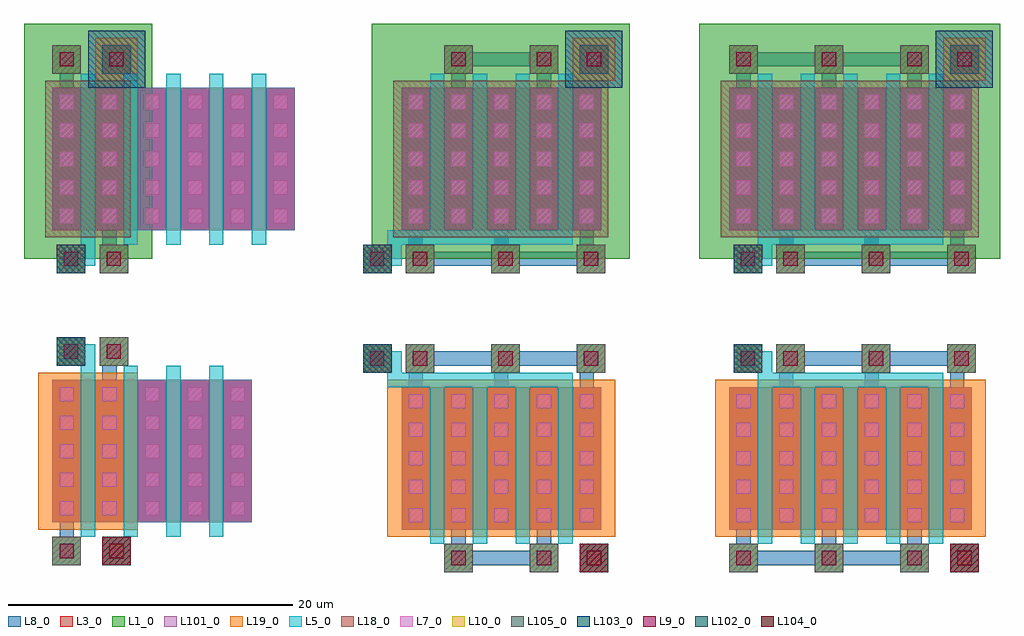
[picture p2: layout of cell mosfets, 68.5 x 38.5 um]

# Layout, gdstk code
import gdstk
lib = gdstk.Library(unit=1e-6, precision=1e-09)
def R(c, l, rs):  # rectangles x0, y0, x1, y1
    for r in rs: c.add(gdstk.rectangle(r[:2], r[2:], *l))
L1_0 = (1, 0)
L3_0 = (3, 0)
L5_0 = (5, 0)
L7_0 = (7, 0)
L8_0 = (8, 0)
L9_0 = (9, 0)
L10_0 = (10, 0)
L18_0 = (18, 0)
L19_0 = (19, 0)
L101_0 = (101, 0)
L102_0 = (102, 0)
L103_0 = (103, 0)
L104_0 = (104, 0)
L105_0 = (105, 0)

dcont = lib.new_cell('dcont')
R(dcont, L3_0, [(-0.5,-0.5,0.5,0.5)])
R(dcont, L7_0, [(-0.5,-0.5,0.5,0.5)])
R(dcont, L8_0, [(-1,-1,1,1)])
R(dcont, L101_0, [(-1,-1,1,1)])
dcont.add(gdstk.Label('dcont', (0,0), layer=13, texttype=0))

via = lib.new_cell('Via')
R(via, L8_0, [(-1,-1,1,1)])
R(via, L9_0, [(-0.5,-0.5,0.5,0.5)])
R(via, L10_0, [(-1,-1,1,1)])
R(via, L105_0, [(-1,-1,1,1)])
via.add(gdstk.Label('via', (0,0), layer=13, texttype=0))

dcont_2 = lib.new_cell('dcont$2')
R(dcont_2, L3_0, [(-0.5,-0.5,0.5,0.5)])
R(dcont_2, L7_0, [(-0.5,-0.5,0.5,0.5)])
R(dcont_2, L8_0, [(-1,-1,1,1)])
R(dcont_2, L101_0, [(-1,-1,1,1)])
dcont_2.add(gdstk.Label('dcont', (0,0), layer=13, texttype=0))

nsubcont = lib.new_cell('nsubcont')
R(nsubcont, L1_0, [(-2,-2,2,2)])
R(nsubcont, L19_0, [(-1.5,-1.5,1.5,1.5)])
R(nsubcont, L103_0, [(-2,-2,2,2)])
nsubcont.add(gdstk.Reference(dcont_2, (0,0)))
nsubcont.add(gdstk.Label('NScont', (0,0), layer=13, texttype=0))

pcont = lib.new_cell('pcont')
R(pcont, L5_0, [(-1,-1,1,1)])
R(pcont, L7_0, [(-0.5,-0.5,0.5,0.5)])
R(pcont, L8_0, [(-1,-1,1,1)])
R(pcont, L102_0, [(-1,-1,1,1)])
pcont.add(gdstk.Label('pcont', (0,0), layer=13, texttype=0))

dcont_3 = lib.new_cell('dcont$3')
R(dcont_3, L3_0, [(-0.5,-0.5,0.5,0.5)])
R(dcont_3, L7_0, [(-0.5,-0.5,0.5,0.5)])
R(dcont_3, L8_0, [(-1,-1,1,1)])
R(dcont_3, L101_0, [(-1,-1,1,1)])
dcont_3.add(gdstk.Label('dcont', (0,0), layer=13, texttype=0))

pcont_3 = lib.new_cell('pcont$3')
R(pcont_3, L5_0, [(-1,-1,1,1)])
R(pcont_3, L7_0, [(-0.5,-0.5,0.5,0.5)])
R(pcont_3, L8_0, [(-1,-1,1,1)])
R(pcont_3, L102_0, [(-1,-1,1,1)])
pcont_3.add(gdstk.Label('pcont', (0,0), layer=13, texttype=0))

via_3 = lib.new_cell('Via$3')
R(via_3, L8_0, [(-1,-1,1,1)])
R(via_3, L9_0, [(-0.5,-0.5,0.5,0.5)])
R(via_3, L10_0, [(-1,-1,1,1)])
R(via_3, L105_0, [(-1,-1,1,1)])
via_3.add(gdstk.Label('via', (0,0), layer=13, texttype=0))

nsubcont_1 = lib.new_cell('nsubcont$1')
R(nsubcont_1, L1_0, [(-2,-2,2,2)])
R(nsubcont_1, L19_0, [(-1.5,-1.5,1.5,1.5)])
R(nsubcont_1, L103_0, [(-2,-2,2,2)])
nsubcont_1.add(gdstk.Reference(dcont_3, (0,0)))
nsubcont_1.add(gdstk.Label('NScont', (0,0), layer=13, texttype=0))

pch = lib.new_cell('Pch')
R(pch, L1_0, [(-2,1,7,17.5)])
R(pch, L3_0, [(0,3,17,13)])
R(pch, L18_0, [(-0.5,2.5,5.5,13.5)])
pch.add(gdstk.FlexPath([(1,3),(1,13)], 2, ends="flush", simple_path=True, layer=8, datatype=0))  # L8_0
pch.add(gdstk.FlexPath([(4,3),(4,13)], 2, ends="flush", simple_path=True, layer=8, datatype=0))  # L8_0
pch.add(gdstk.FlexPath([(7,3),(7,13)], 2, ends="flush", simple_path=True, layer=8, datatype=0))  # L8_0
pch.add(gdstk.FlexPath([(10,3),(10,13)], 2, ends="flush", simple_path=True, layer=8, datatype=0))  # L8_0
pch.add(gdstk.FlexPath([(13,3),(13,13)], 2, ends="flush", simple_path=True, layer=8, datatype=0))  # L8_0
pch.add(gdstk.FlexPath([(16,3),(16,13)], 2, ends="flush", simple_path=True, layer=8, datatype=0))  # L8_0
pch.add(gdstk.FlexPath([(4,1),(4,3)], 1, ends="flush", simple_path=True, layer=8, datatype=0))  # L8_0
pch.add(gdstk.FlexPath([(1,13),(1,15)], 1, ends="flush", simple_path=True, layer=8, datatype=0))  # L8_0
pch.add(gdstk.FlexPath([(2.5,3),(2.5,13)], 1, ends=(1, 1), simple_path=True, layer=5, datatype=0))  # L5_0
pch.add(gdstk.FlexPath([(5.5,3),(5.5,13)], 1, ends=(1, 1), simple_path=True, layer=5, datatype=0))  # L5_0
pch.add(gdstk.FlexPath([(8.5,3),(8.5,13)], 1, ends=(1, 1), simple_path=True, layer=5, datatype=0))  # L5_0
pch.add(gdstk.FlexPath([(11.5,3),(11.5,13)], 1, ends=(1, 1), simple_path=True, layer=5, datatype=0))  # L5_0
pch.add(gdstk.FlexPath([(14.5,3),(14.5,13)], 1, ends=(1, 1), simple_path=True, layer=5, datatype=0))  # L5_0
pch.add(gdstk.FlexPath([(1,1),(2.5,1),(2.5,2)], 1, ends="flush", simple_path=True, layer=5, datatype=0))  # L5_0
pch.add(gdstk.Reference(dcont_3, (1,4)))
pch.add(gdstk.Reference(dcont_3, (1,6)))
pch.add(gdstk.Reference(dcont_3, (1,8)))
pch.add(gdstk.Reference(dcont_3, (1,10)))
pch.add(gdstk.Reference(dcont_3, (1,12)))
pch.add(gdstk.Reference(dcont_3, (4,4)))
pch.add(gdstk.Reference(dcont_3, (4,6)))
pch.add(gdstk.Reference(dcont_3, (4,8)))
pch.add(gdstk.Reference(dcont_3, (4,10)))
pch.add(gdstk.Reference(dcont_3, (4,12)))
pch.add(gdstk.Reference(dcont_3, (7,4)))
pch.add(gdstk.Reference(dcont_3, (7,6)))
pch.add(gdstk.Reference(dcont_3, (7,8)))
pch.add(gdstk.Reference(dcont_3, (7,10)))
pch.add(gdstk.Reference(dcont_3, (7,12)))
pch.add(gdstk.Reference(dcont_3, (10,4)))
pch.add(gdstk.Reference(dcont_3, (10,6)))
pch.add(gdstk.Reference(dcont_3, (10,8)))
pch.add(gdstk.Reference(dcont_3, (10,10)))
pch.add(gdstk.Reference(dcont_3, (10,12)))
pch.add(gdstk.Reference(dcont_3, (13,4)))
pch.add(gdstk.Reference(dcont_3, (13,6)))
pch.add(gdstk.Reference(dcont_3, (13,8)))
pch.add(gdstk.Reference(dcont_3, (13,10)))
pch.add(gdstk.Reference(dcont_3, (13,12)))
pch.add(gdstk.Reference(dcont_3, (16,4)))
pch.add(gdstk.Reference(dcont_3, (16,6)))
pch.add(gdstk.Reference(dcont_3, (16,8)))
pch.add(gdstk.Reference(dcont_3, (16,10)))
pch.add(gdstk.Reference(dcont_3, (16,12)))
pch.add(gdstk.Reference(pcont_3, (1.3,1)))
pch.add(gdstk.Reference(via_3, (1.3,1)))
pch.add(gdstk.Reference(via_3, (4.3,1)))
pch.add(gdstk.Reference(via_3, (1,15)))
pch.add(gdstk.Reference(nsubcont_1, (4.5,15)))
pch.add(gdstk.Reference(via_3, (4.5,15)))

psubcont_2 = lib.new_cell('psubcont$2')
R(psubcont_2, L104_0, [(-1,-1,1,1)])
psubcont_2.add(gdstk.Reference(dcont_3, (0,0)))
psubcont_2.add(gdstk.Label('PScon', (0,0), layer=13, texttype=0))

nch_2 = lib.new_cell('Nch$2')
R(nch_2, L3_0, [(0,3,14,13)])
R(nch_2, L19_0, [(-1,2.5,6,13.5)])
nch_2.add(gdstk.FlexPath([(1,3),(1,13)], 2, ends="flush", simple_path=True, layer=8, datatype=0))  # L8_0
nch_2.add(gdstk.FlexPath([(4,3),(4,13)], 2, ends="flush", simple_path=True, layer=8, datatype=0))  # L8_0
nch_2.add(gdstk.FlexPath([(7,3),(7,13)], 2, ends="flush", simple_path=True, layer=8, datatype=0))  # L8_0
nch_2.add(gdstk.FlexPath([(10,3),(10,13)], 2, ends="flush", simple_path=True, layer=8, datatype=0))  # L8_0
nch_2.add(gdstk.FlexPath([(13,3),(13,13)], 2, ends="flush", simple_path=True, layer=8, datatype=0))  # L8_0
nch_2.add(gdstk.FlexPath([(1,1),(1,3)], 1, ends="flush", simple_path=True, layer=8, datatype=0))  # L8_0
nch_2.add(gdstk.FlexPath([(4,13),(4,15)], 1, ends="flush", simple_path=True, layer=8, datatype=0))  # L8_0
nch_2.add(gdstk.FlexPath([(2.5,3),(2.5,13)], 1, ends=(1, 1), simple_path=True, layer=5, datatype=0))  # L5_0
nch_2.add(gdstk.FlexPath([(5.5,3),(5.5,13)], 1, ends=(1, 1), simple_path=True, layer=5, datatype=0))  # L5_0
nch_2.add(gdstk.FlexPath([(8.5,3),(8.5,13)], 1, ends=(1, 1), simple_path=True, layer=5, datatype=0))  # L5_0
nch_2.add(gdstk.FlexPath([(11.5,3),(11.5,13)], 1, ends=(1, 1), simple_path=True, layer=5, datatype=0))  # L5_0
nch_2.add(gdstk.FlexPath([(1,15),(2.5,15),(2.5,14)], 1, ends="flush", simple_path=True, layer=5, datatype=0))  # L5_0
nch_2.add(gdstk.Reference(dcont_3, (1,4)))
nch_2.add(gdstk.Reference(dcont_3, (1,6)))
nch_2.add(gdstk.Reference(dcont_3, (1,8)))
nch_2.add(gdstk.Reference(dcont_3, (1,10)))
nch_2.add(gdstk.Reference(dcont_3, (1,12)))
nch_2.add(gdstk.Reference(dcont_3, (4,4)))
nch_2.add(gdstk.Reference(dcont_3, (4,6)))
nch_2.add(gdstk.Reference(dcont_3, (4,8)))
nch_2.add(gdstk.Reference(dcont_3, (4,10)))
nch_2.add(gdstk.Reference(dcont_3, (4,12)))
nch_2.add(gdstk.Reference(dcont_3, (7,4)))
nch_2.add(gdstk.Reference(dcont_3, (7,6)))
nch_2.add(gdstk.Reference(dcont_3, (7,8)))
nch_2.add(gdstk.Reference(dcont_3, (7,10)))
nch_2.add(gdstk.Reference(dcont_3, (7,12)))
nch_2.add(gdstk.Reference(dcont_3, (10,4)))
nch_2.add(gdstk.Reference(dcont_3, (10,6)))
nch_2.add(gdstk.Reference(dcont_3, (10,8)))
nch_2.add(gdstk.Reference(dcont_3, (10,10)))
nch_2.add(gdstk.Reference(dcont_3, (10,12)))
nch_2.add(gdstk.Reference(dcont_3, (13,4)))
nch_2.add(gdstk.Reference(dcont_3, (13,6)))
nch_2.add(gdstk.Reference(dcont_3, (13,8)))
nch_2.add(gdstk.Reference(dcont_3, (13,10)))
nch_2.add(gdstk.Reference(dcont_3, (13,12)))
nch_2.add(gdstk.Reference(via_3, (1,1)))
nch_2.add(gdstk.Reference(psubcont_2, (4.5,1)))
nch_2.add(gdstk.Reference(via_3, (4.5,1)))
nch_2.add(gdstk.Reference(pcont_3, (1.3,15)))
nch_2.add(gdstk.Reference(via_3, (1.3,15)))
nch_2.add(gdstk.Reference(via_3, (4.3,15)))

psubcont = lib.new_cell('psubcont')
R(psubcont, L104_0, [(-1,-1,1,1)])
psubcont.add(gdstk.Reference(dcont_2, (0,0)))
psubcont.add(gdstk.Label('PScon', (0,0), layer=13, texttype=0))

mosfets = lib.new_cell('mosfets')
R(mosfets, L1_0, [(-11.1,-1.5,7,15), (11.9,-1.5,33,15)])
R(mosfets, L3_0, [(-9,-20.5,5,-10.5), (14,-20.5,31,-10.5), (-9,0.5,5,10.5), (14,0.5,31,10.5)])
R(mosfets, L5_0, [(-11.7,-2.5,-9.7,-0.5), (14.3,-2.5,16.3,-0.5)])
R(mosfets, L18_0, [(-9.6,0,5.5,11), (13.4,0,31.5,11)])
R(mosfets, L19_0, [(-10,-21,6,-10), (13,-21,32,-10)])
mosfets.add(gdstk.FlexPath([(1,0.5),(1,10.5)], 2, ends="flush", simple_path=True, layer=8, datatype=0))  # L8_0
mosfets.add(gdstk.FlexPath([(4,0.5),(4,10.5)], 2, ends="flush", simple_path=True, layer=8, datatype=0))  # L8_0
mosfets.add(gdstk.FlexPath([(4,-2.5),(4,0.5)], 1, ends="flush", simple_path=True, layer=8, datatype=0))  # L8_0
mosfets.add(gdstk.FlexPath([(1,10.5),(1,12.5)], 1, ends="flush", simple_path=True, layer=8, datatype=0))  # L8_0
mosfets.add(gdstk.FlexPath([(-2,0.5),(-2,10.5)], 2, ends="flush", simple_path=True, layer=8, datatype=0))  # L8_0
mosfets.add(gdstk.FlexPath([(-2,-2),(-2,0.5)], 1, ends="flush", simple_path=True, layer=8, datatype=0))  # L8_0
mosfets.add(gdstk.FlexPath([(5,-1.5),(-8,-1.5)], 1, ends="flush", simple_path=True, layer=8, datatype=0))  # L8_0
mosfets.add(gdstk.FlexPath([(-5,10.5),(-5,12.5)], 1, ends="flush", simple_path=True, layer=8, datatype=0))  # L8_0
mosfets.add(gdstk.FlexPath([(-5,0.5),(-5,10.5)], 2, ends="flush", simple_path=True, layer=8, datatype=0))  # L8_0
mosfets.add(gdstk.FlexPath([(1,12.5),(-5,12.5)], 1, ends="flush", simple_path=True, layer=8, datatype=0))  # L8_0
mosfets.add(gdstk.FlexPath([(-8,0.5),(-8,10.5)], 2, ends="flush", simple_path=True, layer=8, datatype=0))  # L8_0
mosfets.add(gdstk.FlexPath([(-8,-2),(-8,0.5)], 1, ends="flush", simple_path=True, layer=8, datatype=0))  # L8_0
mosfets.add(gdstk.FlexPath([(27,0.5),(27,10.5)], 2, ends="flush", simple_path=True, layer=8, datatype=0))  # L8_0
mosfets.add(gdstk.FlexPath([(30,0.5),(30,10.5)], 2, ends="flush", simple_path=True, layer=8, datatype=0))  # L8_0
mosfets.add(gdstk.FlexPath([(30,-2.5),(30,0.5)], 1, ends="flush", simple_path=True, layer=8, datatype=0))  # L8_0
mosfets.add(gdstk.FlexPath([(27,10.5),(27,12.5)], 1, ends="flush", simple_path=True, layer=8, datatype=0))  # L8_0
mosfets.add(gdstk.FlexPath([(24,0.5),(24,10.5)], 2, ends="flush", simple_path=True, layer=8, datatype=0))  # L8_0
mosfets.add(gdstk.FlexPath([(24,-2),(24,0.5)], 1, ends="flush", simple_path=True, layer=8, datatype=0))  # L8_0
mosfets.add(gdstk.FlexPath([(31,-1.5),(18,-1.5)], 1, ends="flush", simple_path=True, layer=8, datatype=0))  # L8_0
mosfets.add(gdstk.FlexPath([(21,10.5),(21,12.5)], 1, ends="flush", simple_path=True, layer=8, datatype=0))  # L8_0
mosfets.add(gdstk.FlexPath([(21,0.5),(21,10.5)], 2, ends="flush", simple_path=True, layer=8, datatype=0))  # L8_0
mosfets.add(gdstk.FlexPath([(15,10.5),(15,12.5)], 1, ends="flush", simple_path=True, layer=8, datatype=0))  # L8_0
mosfets.add(gdstk.FlexPath([(15,0.5),(15,10.5)], 2, ends="flush", simple_path=True, layer=8, datatype=0))  # L8_0
mosfets.add(gdstk.FlexPath([(18,0.5),(18,10.5)], 2, ends="flush", simple_path=True, layer=8, datatype=0))  # L8_0
mosfets.add(gdstk.FlexPath([(27,12.5),(15,12.5),(15,12.5)], 1, ends="flush", simple_path=True, layer=8, datatype=0))  # L8_0
mosfets.add(gdstk.FlexPath([(18,-2),(18,0.5)], 1, ends="flush", simple_path=True, layer=8, datatype=0))  # L8_0
mosfets.add(gdstk.FlexPath([(1,-20.5),(1,-10.5)], 2, ends="flush", simple_path=True, layer=8, datatype=0))  # L8_0
mosfets.add(gdstk.FlexPath([(4,-20.5),(4,-10.5)], 2, ends="flush", simple_path=True, layer=8, datatype=0))  # L8_0
mosfets.add(gdstk.FlexPath([(1,-22.5),(1,-20.5)], 1, ends="flush", simple_path=True, layer=8, datatype=0))  # L8_0
mosfets.add(gdstk.FlexPath([(4,-10.5),(4,-8.5)], 1, ends="flush", simple_path=True, layer=8, datatype=0))  # L8_0
mosfets.add(gdstk.FlexPath([(-5,-20.5),(-5,-10.5)], 2, ends="flush", simple_path=True, layer=8, datatype=0))  # L8_0
mosfets.add(gdstk.FlexPath([(-5,-22.5),(-5,-20.5)], 1, ends="flush", simple_path=True, layer=8, datatype=0))  # L8_0
mosfets.add(gdstk.FlexPath([(-2,-20.5),(-2,-10.5)], 2, ends="flush", simple_path=True, layer=8, datatype=0))  # L8_0
mosfets.add(gdstk.FlexPath([(-2,-10.5),(-2,-8.5)], 1, ends="flush", simple_path=True, layer=8, datatype=0))  # L8_0
mosfets.add(gdstk.FlexPath([(-8,-20.5),(-8,-10.5)], 2, ends="flush", simple_path=True, layer=8, datatype=0))  # L8_0
mosfets.add(gdstk.FlexPath([(-8,-10.5),(-8,-8.5)], 1, ends="flush", simple_path=True, layer=8, datatype=0))  # L8_0
mosfets.add(gdstk.FlexPath([(-7.5,-8.5),(4.5,-8.5),(4.5,-8.5)], 1, ends="flush", simple_path=True, layer=8, datatype=0))  # L8_0
mosfets.add(gdstk.FlexPath([(1,-22.5),(-5,-22.5)], 1, ends="flush", simple_path=True, layer=8, datatype=0))  # L8_0
mosfets.add(gdstk.FlexPath([(27,-20.5),(27,-10.5)], 2, ends="flush", simple_path=True, layer=8, datatype=0))  # L8_0
mosfets.add(gdstk.FlexPath([(30,-20.5),(30,-10.5)], 2, ends="flush", simple_path=True, layer=8, datatype=0))  # L8_0
mosfets.add(gdstk.FlexPath([(27,-22.5),(27,-20.5)], 1, ends="flush", simple_path=True, layer=8, datatype=0))  # L8_0
mosfets.add(gdstk.FlexPath([(30,-10.5),(30,-8.5)], 1, ends="flush", simple_path=True, layer=8, datatype=0))  # L8_0
mosfets.add(gdstk.FlexPath([(21,-20.5),(21,-10.5)], 2, ends="flush", simple_path=True, layer=8, datatype=0))  # L8_0
mosfets.add(gdstk.FlexPath([(21,-22.5),(21,-20.5)], 1, ends="flush", simple_path=True, layer=8, datatype=0))  # L8_0
mosfets.add(gdstk.FlexPath([(24,-20.5),(24,-10.5)], 2, ends="flush", simple_path=True, layer=8, datatype=0))  # L8_0
mosfets.add(gdstk.FlexPath([(24,-10.5),(24,-8.5)], 1, ends="flush", simple_path=True, layer=8, datatype=0))  # L8_0
mosfets.add(gdstk.FlexPath([(15,-20.5),(15,-10.5)], 2, ends="flush", simple_path=True, layer=8, datatype=0))  # L8_0
mosfets.add(gdstk.FlexPath([(15,-22.5),(15,-20.5)], 1, ends="flush", simple_path=True, layer=8, datatype=0))  # L8_0
mosfets.add(gdstk.FlexPath([(18,-20.5),(18,-10.5)], 2, ends="flush", simple_path=True, layer=8, datatype=0))  # L8_0
mosfets.add(gdstk.FlexPath([(18,-10.5),(18,-8.5)], 1, ends="flush", simple_path=True, layer=8, datatype=0))  # L8_0
mosfets.add(gdstk.FlexPath([(18.5,-8.5),(30.5,-8.5),(30.5,-8.5)], 1, ends="flush", simple_path=True, layer=8, datatype=0))  # L8_0
mosfets.add(gdstk.FlexPath([(27,-22.5),(15,-22.5)], 1, ends="flush", simple_path=True, layer=8, datatype=0))  # L8_0
mosfets.add(gdstk.FlexPath([(2.5,0.5),(2.5,10.5)], 1, ends=(1, 1), simple_path=True, layer=5, datatype=0))  # L5_0
mosfets.add(gdstk.FlexPath([(-0.5,0.5),(-0.5,10.5)], 1, ends=(1, 1), simple_path=True, layer=5, datatype=0))  # L5_0
mosfets.add(gdstk.FlexPath([(-3.5,0.5),(-3.5,10.5)], 1, ends=(1, 1), simple_path=True, layer=5, datatype=0))  # L5_0
mosfets.add(gdstk.FlexPath([(-3.5,0.5),(-3.5,10.5)], 1, ends=(1, 1), simple_path=True, layer=5, datatype=0))  # L5_0
mosfets.add(gdstk.FlexPath([(-6.5,0.5),(-6.5,10.5)], 1, ends=(1, 1), simple_path=True, layer=5, datatype=0))  # L5_0
mosfets.add(gdstk.FlexPath([(-6.5,0.5),(-6.5,10.5)], 1, ends=(1, 1), simple_path=True, layer=5, datatype=0))  # L5_0
mosfets.add(gdstk.FlexPath([(16,0),(29,0)], 1, ends="flush", simple_path=True, layer=5, datatype=0))  # L5_0
mosfets.add(gdstk.FlexPath([(28.5,0.5),(28.5,10.5)], 1, ends=(1, 1), simple_path=True, layer=5, datatype=0))  # L5_0
mosfets.add(gdstk.FlexPath([(-11,-1.5),(-9.5,-1.5),(-9.5,-0.5)], 1, ends="flush", simple_path=True, layer=5, datatype=0))  # L5_0
mosfets.add(gdstk.FlexPath([(25.5,0.5),(25.5,10.5)], 1, ends=(1, 1), simple_path=True, layer=5, datatype=0))  # L5_0
mosfets.add(gdstk.FlexPath([(22.5,0.5),(22.5,10.5)], 1, ends=(1, 1), simple_path=True, layer=5, datatype=0))  # L5_0
mosfets.add(gdstk.FlexPath([(22.5,0.5),(22.5,10.5)], 1, ends=(1, 1), simple_path=True, layer=5, datatype=0))  # L5_0
mosfets.add(gdstk.FlexPath([(19.5,0.5),(19.5,10.5)], 1, ends=(1, 1), simple_path=True, layer=5, datatype=0))  # L5_0
mosfets.add(gdstk.FlexPath([(19.5,0.5),(19.5,10.5)], 1, ends=(1, 1), simple_path=True, layer=5, datatype=0))  # L5_0
mosfets.add(gdstk.FlexPath([(16.5,0.5),(16.5,10.5)], 1, ends=(1, 1), simple_path=True, layer=5, datatype=0))  # L5_0
mosfets.add(gdstk.FlexPath([(15,-1.5),(16.5,-1.5),(16.5,-0.5)], 1, ends="flush", simple_path=True, layer=5, datatype=0))  # L5_0
mosfets.add(gdstk.FlexPath([(2.5,-20.5),(2.5,-10.5)], 1, ends=(1, 1), simple_path=True, layer=5, datatype=0))  # L5_0
mosfets.add(gdstk.FlexPath([(-3.5,-20.5),(-3.5,-10.5)], 1, ends=(1, 1), simple_path=True, layer=5, datatype=0))  # L5_0
mosfets.add(gdstk.FlexPath([(28.5,-20.5),(28.5,-10.5)], 1, ends=(1, 1), simple_path=True, layer=5, datatype=0))  # L5_0
mosfets.add(gdstk.FlexPath([(-0.5,-20.5),(-0.5,-10.5)], 1, ends=(1, 1), simple_path=True, layer=5, datatype=0))  # L5_0
mosfets.add(gdstk.FlexPath([(-11,-8.5),(-9.5,-8.5),(-9.5,-9.5)], 1, ends="flush", simple_path=True, layer=5, datatype=0))  # L5_0
mosfets.add(gdstk.FlexPath([(-6.5,-20.5),(-6.5,-10.5)], 1, ends=(1, 1), simple_path=True, layer=5, datatype=0))  # L5_0
mosfets.add(gdstk.FlexPath([(16.5,-20.5),(16.5,-10.5)], 1, ends=(1, 1), simple_path=True, layer=5, datatype=0))  # L5_0
mosfets.add(gdstk.FlexPath([(22.5,-20.5),(22.5,-10.5)], 1, ends=(1, 1), simple_path=True, layer=5, datatype=0))  # L5_0
mosfets.add(gdstk.FlexPath([(25.5,-20.5),(25.5,-10.5)], 1, ends=(1, 1), simple_path=True, layer=5, datatype=0))  # L5_0
mosfets.add(gdstk.FlexPath([(15,-8.5),(16.5,-8.5),(16.5,-9.5)], 1, ends="flush", simple_path=True, layer=5, datatype=0))  # L5_0
mosfets.add(gdstk.FlexPath([(19.5,-20.5),(19.5,-10.5)], 1, ends=(1, 1), simple_path=True, layer=5, datatype=0))  # L5_0
mosfets.add(gdstk.FlexPath([(16.5,-10),(29,-10),(29,-10)], 1, ends="flush", simple_path=True, layer=5, datatype=0))  # L5_0
mosfets.add(gdstk.FlexPath([(-10,0),(3,0)], 1, ends="flush", simple_path=True, layer=5, datatype=0))  # L5_0
mosfets.add(gdstk.FlexPath([(-10,-10),(3,-10)], 1, ends="flush", simple_path=True, layer=5, datatype=0))  # L5_0
mosfets.add(gdstk.Reference(dcont, (-2,1.5)))
mosfets.add(gdstk.Reference(dcont, (-2,3.5)))
mosfets.add(gdstk.Reference(dcont, (-2,5.5)))
mosfets.add(gdstk.Reference(dcont, (-2,7.5)))
mosfets.add(gdstk.Reference(dcont, (-2,9.5)))
mosfets.add(gdstk.Reference(via, (-1.7,-1.5)))
mosfets.add(gdstk.Reference(dcont, (-2,-19.5)))
mosfets.add(gdstk.Reference(dcont, (-2,-17.5)))
mosfets.add(gdstk.Reference(dcont, (-2,-15.5)))
mosfets.add(gdstk.Reference(dcont, (-2,-13.5)))
mosfets.add(gdstk.Reference(dcont, (-2,-11.5)))
mosfets.add(gdstk.Reference(via, (-1.7,-8.5)))
mosfets.add(gdstk.Reference(nsubcont, (4.5,12.5)))
mosfets.add(gdstk.Reference(via, (4.5,12.5)))
mosfets.add(gdstk.Reference(dcont, (1,1.5)))
mosfets.add(gdstk.Reference(dcont, (1,3.5)))
mosfets.add(gdstk.Reference(dcont, (1,5.5)))
mosfets.add(gdstk.Reference(dcont, (1,7.5)))
mosfets.add(gdstk.Reference(dcont, (1,9.5)))
mosfets.add(gdstk.Reference(dcont, (4,1.5)))
mosfets.add(gdstk.Reference(dcont, (27,1.5)))
mosfets.add(gdstk.Reference(dcont, (27,3.5)))
mosfets.add(gdstk.Reference(dcont, (27,5.5)))
mosfets.add(gdstk.Reference(dcont, (27,7.5)))
mosfets.add(gdstk.Reference(dcont, (27,9.5)))
mosfets.add(gdstk.Reference(dcont, (30,1.5)))
mosfets.add(gdstk.Reference(dcont, (30,3.5)))
mosfets.add(gdstk.Reference(dcont, (30,5.5)))
mosfets.add(gdstk.Reference(dcont, (30,7.5)))
mosfets.add(gdstk.Reference(dcont, (30,9.5)))
mosfets.add(gdstk.Reference(pcont, (15.3,-1.5)))
mosfets.add(gdstk.Reference(via, (30.3,-1.5)))
mosfets.add(gdstk.Reference(via, (27,12.5)))
mosfets.add(gdstk.Reference(nsubcont, (30.5,12.5)))
mosfets.add(gdstk.Reference(via, (30.5,12.5)))
mosfets.add(gdstk.Reference(dcont, (24,1.5)))
mosfets.add(gdstk.Reference(dcont, (24,3.5)))
mosfets.add(gdstk.Reference(dcont, (24,5.5)))
mosfets.add(gdstk.Reference(dcont, (24,7.5)))
mosfets.add(gdstk.Reference(dcont, (24,9.5)))
mosfets.add(gdstk.Reference(via, (21,12.5)))
mosfets.add(gdstk.Reference(dcont, (21,1.5)))
mosfets.add(gdstk.Reference(dcont, (21,3.5)))
mosfets.add(gdstk.Reference(dcont, (21,5.5)))
mosfets.add(gdstk.Reference(dcont, (21,7.5)))
mosfets.add(gdstk.Reference(dcont, (21,9.5)))
mosfets.add(gdstk.Reference(dcont, (15,1.5)))
mosfets.add(gdstk.Reference(dcont, (15,3.5)))
mosfets.add(gdstk.Reference(dcont, (15,5.5)))
mosfets.add(gdstk.Reference(dcont, (15,7.5)))
mosfets.add(gdstk.Reference(dcont, (15,9.5)))
mosfets.add(gdstk.Reference(dcont, (18,1.5)))
mosfets.add(gdstk.Reference(dcont, (18,3.5)))
mosfets.add(gdstk.Reference(dcont, (18,5.5)))
mosfets.add(gdstk.Reference(dcont, (18,7.5)))
mosfets.add(gdstk.Reference(dcont, (18,9.5)))
mosfets.add(gdstk.Reference(via, (15,12.5)))
mosfets.add(gdstk.Reference(via, (15.3,-1.5)))
mosfets.add(gdstk.Reference(via, (24.3,-1.5)))
mosfets.add(gdstk.Reference(via, (18.3,-1.5)))
mosfets.add(gdstk.Reference(dcont, (4,3.5)))
mosfets.add(gdstk.Reference(dcont, (4,5.5)))
mosfets.add(gdstk.Reference(dcont, (4,7.5)))
mosfets.add(gdstk.Reference(dcont, (4,9.5)))
mosfets.add(gdstk.Reference(via, (4.3,-1.5)))
mosfets.add(gdstk.Reference(via, (1,12.5)))
mosfets.add(gdstk.Reference(dcont, (-5,7.5)))
mosfets.add(gdstk.Reference(dcont, (-5,9.5)))
mosfets.add(gdstk.Reference(dcont, (-8,1.5)))
mosfets.add(gdstk.Reference(dcont, (-8,3.5)))
mosfets.add(gdstk.Reference(dcont, (-8,5.5)))
mosfets.add(gdstk.Reference(dcont, (-8,7.5)))
mosfets.add(gdstk.Reference(dcont, (-8,9.5)))
mosfets.add(gdstk.Reference(via, (-10.7,-1.5)))
mosfets.add(gdstk.Reference(pch, (-33.5,-2.5)))
mosfets.add(gdstk.Reference(pcont, (-10.7,-1.5)))
mosfets.add(gdstk.Reference(via, (-7.7,-1.5)))
mosfets.add(gdstk.Reference(via, (-5,12.5)))
mosfets.add(gdstk.Reference(dcont, (-5,1.5)))
mosfets.add(gdstk.Reference(dcont, (-5,3.5)))
mosfets.add(gdstk.Reference(dcont, (-5,5.5)))
mosfets.add(gdstk.Reference(via, (-5,-22.5)))
mosfets.add(gdstk.Reference(nch_2, (-33.5,-23)))
mosfets.add(gdstk.Reference(dcont, (-5,-19.5)))
mosfets.add(gdstk.Reference(dcont, (-5,-17.5)))
mosfets.add(gdstk.Reference(dcont, (-5,-15.5)))
mosfets.add(gdstk.Reference(dcont, (-5,-13.5)))
mosfets.add(gdstk.Reference(dcont, (-5,-11.5)))
mosfets.add(gdstk.Reference(pcont, (-10.7,-8.5)))
mosfets.add(gdstk.Reference(via, (-10.7,-8.5)))
mosfets.add(gdstk.Reference(dcont, (-8,-19.5)))
mosfets.add(gdstk.Reference(dcont, (-8,-17.5)))
mosfets.add(gdstk.Reference(dcont, (-8,-15.5)))
mosfets.add(gdstk.Reference(dcont, (-8,-13.5)))
mosfets.add(gdstk.Reference(dcont, (-8,-11.5)))
mosfets.add(gdstk.Reference(via, (-7.7,-8.5)))
mosfets.add(gdstk.Reference(dcont, (21,-19.5)))
mosfets.add(gdstk.Reference(dcont, (27,-19.5)))
mosfets.add(gdstk.Reference(dcont, (4,-15.5)))
mosfets.add(gdstk.Reference(dcont, (4,-13.5)))
mosfets.add(gdstk.Reference(dcont, (4,-11.5)))
mosfets.add(gdstk.Reference(via, (1,-22.5)))
mosfets.add(gdstk.Reference(psubcont, (4.5,-22.5)))
mosfets.add(gdstk.Reference(via, (4.5,-22.5)))
mosfets.add(gdstk.Reference(dcont, (1,-19.5)))
mosfets.add(gdstk.Reference(dcont, (1,-11.5)))
mosfets.add(gdstk.Reference(via, (4.3,-8.5)))
mosfets.add(gdstk.Reference(dcont, (1,-17.5)))
mosfets.add(gdstk.Reference(dcont, (1,-15.5)))
mosfets.add(gdstk.Reference(dcont, (1,-13.5)))
mosfets.add(gdstk.Reference(dcont, (4,-19.5)))
mosfets.add(gdstk.Reference(dcont, (4,-17.5)))
mosfets.add(gdstk.Reference(dcont, (27,-17.5)))
mosfets.add(gdstk.Reference(dcont, (27,-15.5)))
mosfets.add(gdstk.Reference(dcont, (27,-13.5)))
mosfets.add(gdstk.Reference(dcont, (27,-11.5)))
mosfets.add(gdstk.Reference(dcont, (30,-19.5)))
mosfets.add(gdstk.Reference(dcont, (30,-17.5)))
mosfets.add(gdstk.Reference(dcont, (30,-15.5)))
mosfets.add(gdstk.Reference(dcont, (30,-13.5)))
mosfets.add(gdstk.Reference(dcont, (30,-11.5)))
mosfets.add(gdstk.Reference(via, (27,-22.5)))
mosfets.add(gdstk.Reference(psubcont, (30.5,-22.5)))
mosfets.add(gdstk.Reference(via, (30.5,-22.5)))
mosfets.add(gdstk.Reference(dcont, (15,-19.5)))
mosfets.add(gdstk.Reference(dcont, (15,-17.5)))
mosfets.add(gdstk.Reference(via, (30.3,-8.5)))
mosfets.add(gdstk.Reference(dcont, (21,-17.5)))
mosfets.add(gdstk.Reference(dcont, (21,-15.5)))
mosfets.add(gdstk.Reference(dcont, (21,-13.5)))
mosfets.add(gdstk.Reference(dcont, (21,-11.5)))
mosfets.add(gdstk.Reference(via, (21,-22.5)))
mosfets.add(gdstk.Reference(dcont, (24,-19.5)))
mosfets.add(gdstk.Reference(dcont, (24,-17.5)))
mosfets.add(gdstk.Reference(dcont, (24,-15.5)))
mosfets.add(gdstk.Reference(dcont, (24,-13.5)))
mosfets.add(gdstk.Reference(dcont, (24,-11.5)))
mosfets.add(gdstk.Reference(via, (24.3,-8.5)))
mosfets.add(gdstk.Reference(dcont, (15,-15.5)))
mosfets.add(gdstk.Reference(dcont, (15,-13.5)))
mosfets.add(gdstk.Reference(dcont, (15,-11.5)))
mosfets.add(gdstk.Reference(via, (15,-22.5)))
mosfets.add(gdstk.Reference(pcont, (15.3,-8.5)))
mosfets.add(gdstk.Reference(via, (15.3,-8.5)))
mosfets.add(gdstk.Reference(dcont, (18,-19.5)))
mosfets.add(gdstk.Reference(dcont, (18,-17.5)))
mosfets.add(gdstk.Reference(dcont, (18,-15.5)))
mosfets.add(gdstk.Reference(dcont, (18,-13.5)))
mosfets.add(gdstk.Reference(dcont, (18,-11.5)))
mosfets.add(gdstk.Reference(via, (18.3,-8.5)))

lib.write_gds('mosfets.gds')
